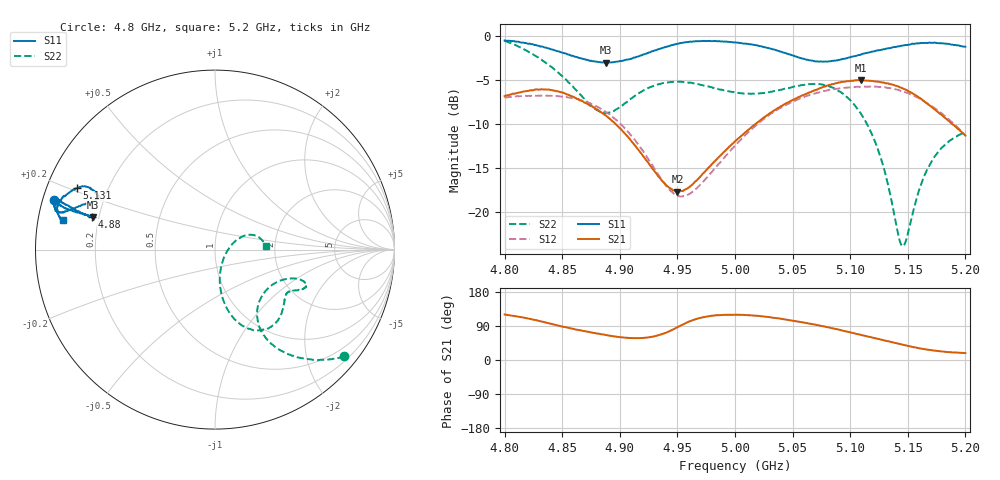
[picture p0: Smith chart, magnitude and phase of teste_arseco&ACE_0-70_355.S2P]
! Network Analyzer HP8722D
! Hewlett-Packard
! Data name: Linha & Wilkinson
! Saver's name: Rodrigo Anjos
! Comments: Teste da utilização de aquisição
! continua pelo VNA HP8722D
! Time and date: 8/5/2025 15:43
!  Frequency  S11  S21  S12  S22
# HZ  S  MA R 50
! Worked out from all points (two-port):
!   401 points, 4.8 GHz to 5.2 GHz, reference 50 ohm
!   highest |S21| = -5.05 dB at 5.109 GHz (marker M1); lowest = -17.7 dB at 4.95 GHz (marker M2)
!   |S21| within 3 dB of the highest: start of sweep to 4.876 GHz; 5.04 GHz to 5.17 GHz (130.6 MHz wide, 2.56 % of centre)
!   lowest |S11| = -3.1 dB at 4.888 GHz (marker M3), VSWR 5.74, Z = 8.85 + j6.35 ohm
!   |S11| at or under -10 dB: nowhere
!   |S22| runs from -23.9 to -0.6 dB; largest |S21 - S12| = 0.73
!   S11 on the Smith chart (normalised r, x): 4.8 GHz: 0.03, +0.15; 4.88 GHz: 0.17, +0.13; 5.131 GHz: 0.09, +0.21; 5.2 GHz: 0.07, +0.09
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4.8e9  0.9384 163.0  0.4537 120.2  0.4454 15.3  0.9348 -39.6
4.834e9  0.8607 164.7  0.4936 100.4  0.456 4.5  0.7144 -54.9
4.867e9  0.7415 164.9  0.4268 77.6  0.4281 -10.0  0.454 -58.5
4.88e9  0.7109 165.0  0.3821 69.9  0.3967 -17.5  0.3783 -49.0
4.888e9  0.7035 165.1  0.3515 65.8  0.3682 -22.3  0.3637 -39.6
4.907e9  0.7306 165.2  0.2671 58.5  0.2851 -31.7  0.4253 -22.8
4.934e9  0.8383 163.6  0.1577 65.6  0.161 -29.4  0.5304 -19.9
4.95e9  0.9002 162.8  0.1304 86.6  0.1239 -8.1  0.547 -21.9
4.965e9  0.9279 162.8  0.1478 106.7  0.1329 15.8  0.5346 -24.3
5e9  0.9166 166.1  0.2508 119.5  0.2374 37.5  0.4758 -29.2
5.033e9  0.8351 164.5  0.3726 111.7  0.3669 32.3  0.4828 -36.7
5.067e9  0.7217 157.6  0.4839 94.7  0.4652 17.1  0.5314 -51.8
5.087e9  0.7218 155.0  0.5349 82.2  0.4967 5.7  0.4986 -64.2
5.109e9  0.7802 153.7  0.5594 66.4  0.5132 -7.7  0.3633 -76.9
5.121e9  0.8144 154.4  0.5504 57.8  0.5132 -15.1  0.2556 -81.7
5.131e9  0.8423 156.0  0.5365 50.8  0.5074 -21.8  0.1601 -80.5
5.134e9  0.8479 156.5  0.5311 48.7  0.504 -23.9  0.1317 -77.3
5.142e9  0.8688 158.2  0.5139 43.0  0.492 -29.2  0.07291 -51.7
5.146e9  0.88 159.4  0.501 40.1  0.48 -31.8  0.06439 -23.6
5.161e9  0.9068 162.6  0.4403 30.5  0.4367 -40.8  0.1401 24.6
5.169e9  0.9132 164.3  0.4015 26.7  0.4051 -44.8  0.1849 25.0
5.2e9  0.8649 169.2  0.2709 18.2  0.2718 -54.2  0.2832 4.3
